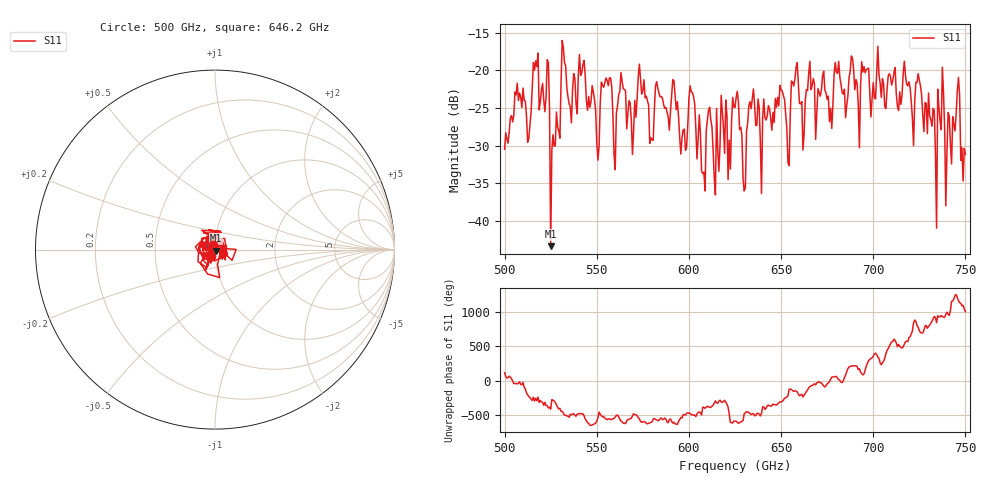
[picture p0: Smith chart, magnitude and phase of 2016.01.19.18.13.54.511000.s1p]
!Created with skrf (http://scikit-rf.org).
# GHz S RI R 50.0
!freq ReS11 ImS11
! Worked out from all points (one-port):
!   401 points, 500 GHz to 750 GHz, reference 50 ohm
!   lowest |S11| = -43.3 dB at 525 GHz (marker M1), VSWR 1.01, Z = 50.4 - j0.522 ohm
!   |S11| at or under -10 dB: start of sweep to end of sweep
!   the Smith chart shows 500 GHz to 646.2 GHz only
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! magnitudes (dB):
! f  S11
! 500 GHz  -30.5
! 506.9 GHz  -21.7
! 513.1 GHz  -29.0
! 516.9 GHz  -18.7
! 525 GHz  -43.3
! 526.2 GHz  -28.5
! 531.2 GHz  -16.0
! 541.9 GHz  -20.3
! 550.6 GHz  -31.9
! 553.8 GHz  -22.2
! 560 GHz  -33.2
! 562.5 GHz  -22.8
! 593.8 GHz  -24.1
! 601.9 GHz  -22.9
! 607.5 GHz  -33.7
! 610.6 GHz  -25.3
! 615 GHz  -25.1
! 625 GHz  -24.9
! 630 GHz  -36.0
! 633.8 GHz  -25.1
! 650.6 GHz  -22.7
! 653.8 GHz  -32.3
! 656.2 GHz  -21.6
! 687.5 GHz  -20.1
! 718.8 GHz  -22.1
! 733.1 GHz  -25.3
! 745.6 GHz  -22.7
! 750 GHz  -31.1
